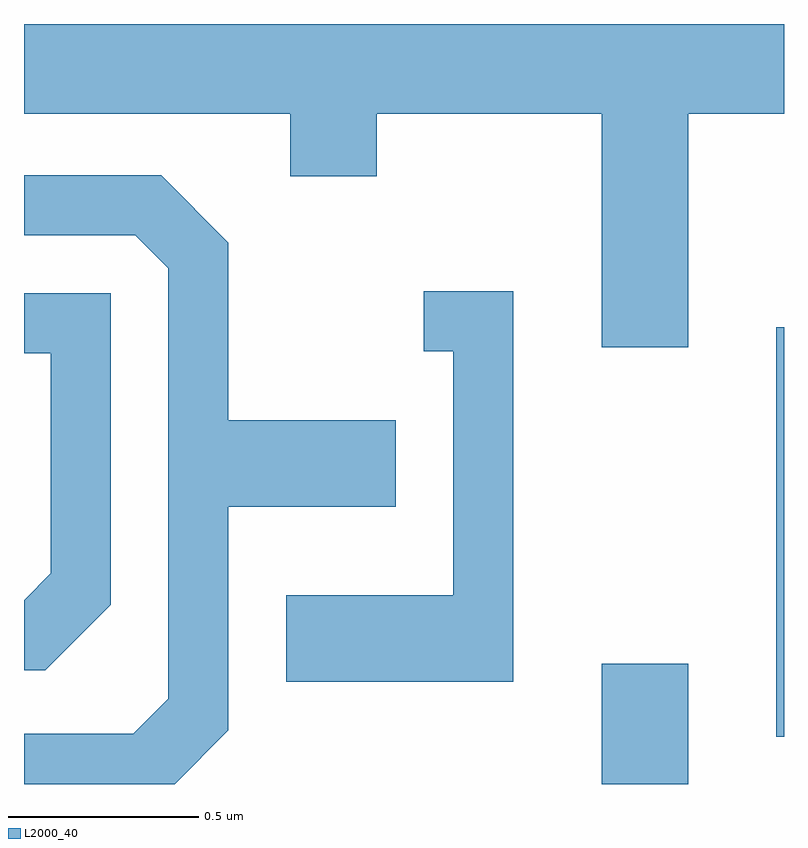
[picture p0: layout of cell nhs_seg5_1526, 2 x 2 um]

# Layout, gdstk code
import gdstk
lib = gdstk.Library(unit=1e-6, precision=1e-09)
def R(c, l, rs):  # rectangles x0, y0, x1, y1
    for r in rs: c.add(gdstk.rectangle(r[:2], r[2:], *l))
def P(c, l, *ps):  # polygons
    for p in ps: c.add(gdstk.Polygon(p, *l))
L2000_40 = (2000, 40)

nhs_seg5_1526 = lib.new_cell('nhs_seg5_1526')
R(nhs_seg5_1526, L2000_40, [(198.131,1415.072,198.359,1415.389), (198.591,1415.196,198.611,1416.274)])
P(nhs_seg5_1526, L2000_40, [(198.359,1416.836),(198.611,1416.836),(198.611,1417.072),(196.611,1417.072),(196.611,1416.836),(197.311,1416.836),(197.311,1416.671),(197.539,1416.671),(197.539,1416.836),(198.131,1416.836),(198.131,1416.221),(198.359,1416.221)],
  [(197.149,1415.214),(197.149,1415.801),(197.589,1415.801),(197.589,1416.029),(197.149,1416.029),(197.149,1416.497),(196.972,1416.674),(196.611,1416.674),(196.611,1416.516),(196.904,1416.516),(196.991,1416.429),(196.991,1415.297),(196.899,1415.204),(196.611,1415.204),(196.611,1415.072),(197.008,1415.072)],
  [(197.899,1416.369),(197.663,1416.369),(197.663,1416.211),(197.741,1416.211),(197.741,1415.569),(197.301,1415.569),(197.301,1415.341),(197.899,1415.341)],
  [(196.839,1415.544),(196.839,1416.364),(196.611,1416.364),(196.611,1416.206),(196.681,1416.206),(196.681,1415.627),(196.611,1415.556),(196.611,1415.371),(196.667,1415.371)])

lib.write_gds('nhs_seg5_1526.gds')
